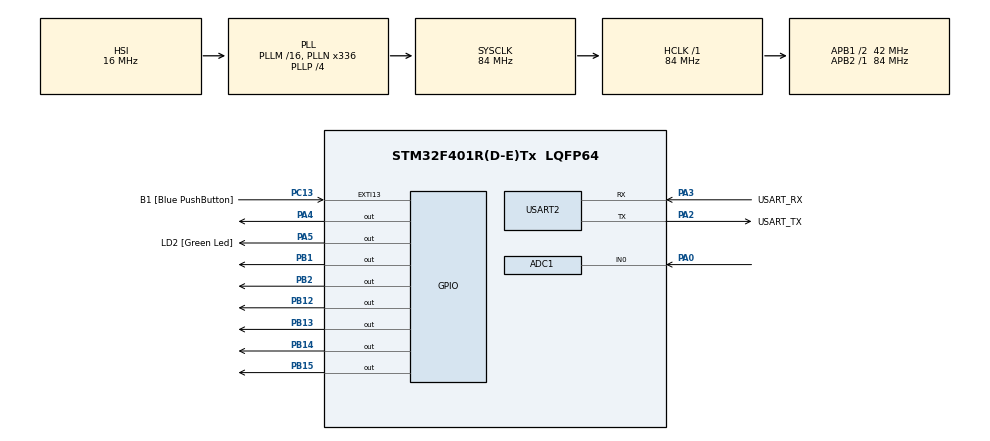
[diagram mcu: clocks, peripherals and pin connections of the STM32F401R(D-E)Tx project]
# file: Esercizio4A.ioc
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ADC1.Channel-0\#ChannelRegularConversion=ADC_CHANNEL_0
ADC1.DMAContinuousRequests=ENABLE
ADC1.ExternalTrigConv=ADC_EXTERNALTRIGCONV_T2_TRGO
ADC1.NbrOfConversionFlag=1
ADC1.Rank-0\#ChannelRegularConversion=1
ADC1.SamplingTime-0\#ChannelRegularConversion=ADC_SAMPLETIME_480CYCLES
ADC1.master=1
Dma.ADC1.1.Direction=DMA_PERIPH_TO_MEMORY
Dma.ADC1.1.FIFOMode=DMA_FIFOMODE_DISABLE
Dma.ADC1.1.Instance=DMA2_Stream0
Dma.ADC1.1.MemDataAlignment=DMA_MDATAALIGN_HALFWORD
Dma.ADC1.1.MemInc=DMA_MINC_ENABLE
Dma.ADC1.1.Mode=DMA_CIRCULAR
Dma.ADC1.1.PeriphDataAlignment=DMA_PDATAALIGN_HALFWORD
Dma.ADC1.1.PeriphInc=DMA_PINC_DISABLE
Dma.ADC1.1.Priority=DMA_PRIORITY_HIGH
Dma.Request0=USART2_TX
Dma.Request1=ADC1
Dma.USART2_TX.0.Direction=DMA_MEMORY_TO_PERIPH
Dma.USART2_TX.0.FIFOMode=DMA_FIFOMODE_DISABLE
Dma.USART2_TX.0.Instance=DMA1_Stream6
Dma.USART2_TX.0.MemDataAlignment=DMA_MDATAALIGN_BYTE
Dma.USART2_TX.0.MemInc=DMA_MINC_ENABLE
Dma.USART2_TX.0.Mode=DMA_NORMAL
Dma.USART2_TX.0.PeriphDataAlignment=DMA_PDATAALIGN_BYTE
Dma.USART2_TX.0.PeriphInc=DMA_PINC_DISABLE
Dma.USART2_TX.0.Priority=DMA_PRIORITY_HIGH
Mcu.Family=STM32F4
Mcu.Name=STM32F401R(D-E)Tx
Mcu.Package=LQFP64
NVIC.DMA1_Stream6_IRQn=true\:0\:0\:false\:false\:true\:false\:true\:true
NVIC.DMA2_Stream0_IRQn=true\:0\:0\:false\:false\:true\:false\:true\:true
NVIC.PriorityGroup=NVIC_PRIORITYGROUP_4
NVIC.USART2_IRQn=true\:0\:0\:false\:false\:true\:true\:true\:true
PA0-WKUP.Signal=ADCx_IN0
PA13.GPIO_Label=TMS
PA13.Mode=Trace_Asynchronous_SW
PA13.Signal=SYS_JTMS-SWDIO
PA14.GPIO_Label=TCK
PA14.Mode=Trace_Asynchronous_SW
PA14.Signal=SYS_JTCK-SWCLK
PA2.GPIO_Label=USART_TX
PA2.GPIO_Mode=GPIO_MODE_AF_PP
PA2.GPIO_PuPd=GPIO_NOPULL
PA2.GPIO_Speed=GPIO_SPEED_FREQ_LOW
PA2.Mode=Asynchronous
PA2.Signal=USART2_TX
PA3.GPIO_Label=USART_RX
PA3.GPIO_Mode=GPIO_MODE_AF_PP
PA3.GPIO_PuPd=GPIO_NOPULL
PA3.GPIO_Speed=GPIO_SPEED_FREQ_LOW
PA3.Mode=Asynchronous
PA3.Signal=USART2_RX
PA4.Signal=GPIO_Output
PA5.GPIO_Label=LD2 [Green Led]
PA5.GPIO_Mode=GPIO_MODE_OUTPUT_PP
PA5.GPIO_PuPd=GPIO_NOPULL
PA5.GPIO_Speed=GPIO_SPEED_FREQ_LOW
PA5.Signal=GPIO_Output
PB1.Signal=GPIO_Output
PB12.Signal=GPIO_Output
PB13.Signal=GPIO_Output
PB14.Signal=GPIO_Output
PB15.Signal=GPIO_Output
PB2.Signal=GPIO_Output
PB3.GPIO_Label=SWO
PB3.Mode=Trace_Asynchronous_SW
PB3.Signal=SYS_JTDO-SWO
PC13-ANTI_TAMP.GPIO_Label=B1 [Blue PushButton]
PC13-ANTI_TAMP.GPIO_ModeDefaultEXTI=GPIO_MODE_IT_FALLING
PC13-ANTI_TAMP.GPIO_PuPd=GPIO_NOPULL
PC13-ANTI_TAMP.Signal=GPXTI13
PC14-OSC32_IN.Mode=LSE-External-Oscillator
PC14-OSC32_IN.Signal=RCC_OSC32_IN
PC15-OSC32_OUT.Mode=LSE-External-Oscillator
PC15-OSC32_OUT.Signal=RCC_OSC32_OUT
PH0\ -\ OSC_IN.Mode=HSE-External-Clock-Source
PH0\ -\ OSC_IN.Signal=RCC_OSC_IN
PH1\ -\ OSC_OUT.Mode=HSE-External-Clock-Source
PH1\ -\ OSC_OUT.Signal=RCC_OSC_OUT
ProjectManager.HeapSize=0x200
ProjectManager.StackSize=0x400
ProjectManager.TargetToolchain=STM32CubeIDE
RCC.48MHZClocksFreq_Value=48000000
RCC.AHBFreq_Value=84000000
RCC.APB1CLKDivider=RCC_HCLK_DIV2
RCC.APB1Freq_Value=42000000
RCC.APB1TimFreq_Value=84000000
RCC.APB2Freq_Value=84000000
RCC.APB2TimFreq_Value=84000000
RCC.CortexFreq_Value=84000000
RCC.HCLKFreq_Value=84000000
RCC.HSE_VALUE=8000000
RCC.HSI_VALUE=16000000
RCC.PLLN=336
RCC.PLLP=RCC_PLLP_DIV4
RCC.PLLQ=7
RCC.SYSCLKFreq_VALUE=84000000
RCC.SYSCLKSource=RCC_SYSCLKSOURCE_PLLCLK
RCC.VCOOutputFreq_Value=336000000
SH.ADCx_IN0.0=ADC1_IN0,IN0
TIM2.Period=839999
TIM2.Prescaler=99
TIM2.TIM_MasterOutputTrigger=TIM_TRGO_UPDATE
USART2.VirtualMode=VM_ASYNC
VP_TIM2_VS_ClockSourceINT.Mode=Internal
board=NUCLEO-F401RE

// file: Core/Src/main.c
/* USER CODE BEGIN Header */
/**
  ******************************************************************************
  * @file           : main.c
  * @brief          : Main program body
  ******************************************************************************
  * @attention
  *
  * Copyright (c) 2026 STMicroelectronics.
  * All rights reserved.
  *
  * This software is licensed under terms that can be found in the LICENSE file
  * in the root directory of this software component.
  * If no LICENSE file comes with this software, it is provided AS-IS.
  *
  ******************************************************************************
  */
/* USER CODE END Header */
#include "main.h"

/* USER CODE BEGIN Includes */
#include "stdio.h"
#include "string.h"
#include <math.h>
#include "PMDB16_LCD.h"

/* USER CODE END Includes */

ADC_HandleTypeDef hadc1;
DMA_HandleTypeDef hdma_adc1;

TIM_HandleTypeDef htim2;

UART_HandleTypeDef huart2;
DMA_HandleTypeDef hdma_usart2_tx;

/* USER CODE BEGIN PV */
uint16_t adc_buf[2];   // buffer circolare: [0] pronto a meta' trasferimento, [1] a trasferimento completo
float v_adc = 0.0f;
float ldr = 0.0f;
float lux = 0.0f;
uint8_t tx_buf[64];
int len;
int blacklight=0;
char string[16];
/* USER CODE END PV */

void SystemClock_Config(void);
static void MX_GPIO_Init(void);
static void MX_DMA_Init(void);
static void MX_USART2_UART_Init(void);
static void MX_ADC1_Init(void);
static void MX_TIM2_Init(void);

/* USER CODE BEGIN 0 */

static void process_and_send(uint16_t raw)
{
    v_adc = ((float)raw * 3.3f) / 4095.0f;
    ldr = (v_adc * 100) / (3.3f - v_adc);       // [kOhm]
    lux = 10 * pow(100 / ldr, 1.25f);            // [lux]

    if(lux>300.0f){
    	blacklight=0;
    }else if(lux<200.0f){
    	blacklight=1;
    }

    len = sprintf((char*)tx_buf, "Vadc: %.2fV  LDR: %.1fkOhm  Lux: %.2flux\r\n", v_adc, ldr, lux);
    HAL_UART_Transmit_DMA(&huart2, tx_buf, len);

}

void HAL_ADC_ConvHalfCpltCallback(ADC_HandleTypeDef *hadc)
{
    process_and_send(adc_buf[0]);
}

void HAL_ADC_ConvCpltCallback(ADC_HandleTypeDef *hadc)
{
    process_and_send(adc_buf[1]);
}

/* USER CODE END 0 */

int main(void)
{

  /* MCU Configuration--------------------------------------------------------*/

  /* Reset of all peripherals, Initializes the Flash interface and the Systick. */
  HAL_Init();

  /* Configure the system clock */
  SystemClock_Config();

  /* Initialize all configured peripherals */
  MX_GPIO_Init();
  MX_DMA_Init();
  MX_USART2_UART_Init();
  MX_ADC1_Init();
  MX_TIM2_Init();
  /* USER CODE BEGIN 2 */
  HAL_TIM_Base_Start(&htim2); // Timer 2 (Trigger ADC)
  HAL_ADC_Start_DMA(&hadc1, (uint32_t*)adc_buf, 2);   // buffer da 2 elementi, niente & (l'array decade gia' da solo)
  lcd_initialize();           // LCD

  /* USER CODE END 2 */

  /* Infinite loop */
  while (1)
  {

    /* USER CODE BEGIN 3 */
	  if(blacklight){
		  lcd_backlight_ON();
		  sprintf(string, "Lux: %.2flux", lux);

		  lcd_clear();
		  lcd_println(string, 0);   // testo sulla riga superiore
	  }else{
		  lcd_backlight_OFF();
	  }
  }
  /* USER CODE END 3 */
}

void SystemClock_Config(void)
{
  RCC_OscInitTypeDef RCC_OscInitStruct = {0};
  RCC_ClkInitTypeDef RCC_ClkInitStruct = {0};

  /** Configure the main internal regulator output voltage
  */
  __HAL_RCC_PWR_CLK_ENABLE();
  __HAL_PWR_VOLTAGESCALING_CONFIG(PWR_REGULATOR_VOLTAGE_SCALE2);

  /** Initializes the RCC Oscillators according to the specified parameters
  * in the RCC_OscInitTypeDef structure.
  */
  RCC_OscInitStruct.OscillatorType = RCC_OSCILLATORTYPE_HSI;
  RCC_OscInitStruct.HSIState = RCC_HSI_ON;
  RCC_OscInitStruct.HSICalibrationValue = RCC_HSICALIBRATION_DEFAULT;
  RCC_OscInitStruct.PLL.PLLState = RCC_PLL_ON;
  RCC_OscInitStruct.PLL.PLLSource = RCC_PLLSOURCE_HSI;
  RCC_OscInitStruct.PLL.PLLM = 16;
  RCC_OscInitStruct.PLL.PLLN = 336;
  RCC_OscInitStruct.PLL.PLLP = RCC_PLLP_DIV4;
  RCC_OscInitStruct.PLL.PLLQ = 7;
  if (HAL_RCC_OscConfig(&RCC_OscInitStruct) != HAL_OK)
  {
    Error_Handler();
  }

  /** Initializes the CPU, AHB and APB buses clocks
  */
  RCC_ClkInitStruct.ClockType = RCC_CLOCKTYPE_HCLK|RCC_CLOCKTYPE_SYSCLK
                              |RCC_CLOCKTYPE_PCLK1|RCC_CLOCKTYPE_PCLK2;
  RCC_ClkInitStruct.SYSCLKSource = RCC_SYSCLKSOURCE_PLLCLK;
  RCC_ClkInitStruct.AHBCLKDivider = RCC_SYSCLK_DIV1;
  RCC_ClkInitStruct.APB1CLKDivider = RCC_HCLK_DIV2;
  RCC_ClkInitStruct.APB2CLKDivider = RCC_HCLK_DIV1;

  if (HAL_RCC_ClockConfig(&RCC_ClkInitStruct, FLASH_LATENCY_2) != HAL_OK)
  {
    Error_Handler();
  }
}

static void MX_ADC1_Init(void)
{

  ADC_ChannelConfTypeDef sConfig = {0};

  /** Configure the global features of the ADC (Clock, Resolution, Data Alignment and number of conversion)
  */
  hadc1.Instance = ADC1;
  hadc1.Init.ClockPrescaler = ADC_CLOCK_SYNC_PCLK_DIV4;
  hadc1.Init.Resolution = ADC_RESOLUTION_12B;
  hadc1.Init.ScanConvMode = DISABLE;
  hadc1.Init.ContinuousConvMode = DISABLE;
  hadc1.Init.DiscontinuousConvMode = DISABLE;
  hadc1.Init.ExternalTrigConvEdge = ADC_EXTERNALTRIGCONVEDGE_RISING;
  hadc1.Init.ExternalTrigConv = ADC_EXTERNALTRIGCONV_T2_TRGO;
  hadc1.Init.DataAlign = ADC_DATAALIGN_RIGHT;
  hadc1.Init.NbrOfConversion = 1;
  hadc1.Init.DMAContinuousRequests = ENABLE;
  hadc1.Init.EOCSelection = ADC_EOC_SINGLE_CONV;
  if (HAL_ADC_Init(&hadc1) != HAL_OK)
  {
    Error_Handler();
  }

  /** Configure for the selected ADC regular channel its corresponding rank in the sequencer and its sample time.
  */
  sConfig.Channel = ADC_CHANNEL_0;
  sConfig.Rank = 1;
  sConfig.SamplingTime = ADC_SAMPLETIME_480CYCLES;
  if (HAL_ADC_ConfigChannel(&hadc1, &sConfig) != HAL_OK)
  {
    Error_Handler();
  }

}

static void MX_TIM2_Init(void)
{

  TIM_ClockConfigTypeDef sClockSourceConfig = {0};
  TIM_MasterConfigTypeDef sMasterConfig = {0};

  htim2.Instance = TIM2;
  htim2.Init.Prescaler = 99;
  htim2.Init.CounterMode = TIM_COUNTERMODE_UP;
  htim2.Init.Period = 839999;
  htim2.Init.ClockDivision = TIM_CLOCKDIVISION_DIV1;
  htim2.Init.AutoReloadPreload = TIM_AUTORELOAD_PRELOAD_DISABLE;
  if (HAL_TIM_Base_Init(&htim2) != HAL_OK)
  {
    Error_Handler();
  }
  sClockSourceConfig.ClockSource = TIM_CLOCKSOURCE_INTERNAL;
  if (HAL_TIM_ConfigClockSource(&htim2, &sClockSourceConfig) != HAL_OK)
  {
    Error_Handler();
  }
  sMasterConfig.MasterOutputTrigger = TIM_TRGO_UPDATE;
  sMasterConfig.MasterSlaveMode = TIM_MASTERSLAVEMODE_DISABLE;
  if (HAL_TIMEx_MasterConfigSynchronization(&htim2, &sMasterConfig) != HAL_OK)
  {
    Error_Handler();
  }

}

static void MX_USART2_UART_Init(void)
{

  huart2.Instance = USART2;
  huart2.Init.BaudRate = 115200;
  huart2.Init.WordLength = UART_WORDLENGTH_8B;
  huart2.Init.StopBits = UART_STOPBITS_1;
  huart2.Init.Parity = UART_PARITY_NONE;
  huart2.Init.Mode = UART_MODE_TX_RX;
  huart2.Init.HwFlowCtl = UART_HWCONTROL_NONE;
  huart2.Init.OverSampling = UART_OVERSAMPLING_16;
  if (HAL_UART_Init(&huart2) != HAL_OK)
  {
    Error_Handler();
  }

}

static void MX_DMA_Init(void)
{

  /* DMA controller clock enable */
  __HAL_RCC_DMA1_CLK_ENABLE();
  __HAL_RCC_DMA2_CLK_ENABLE();

  /* DMA interrupt init */
  /* DMA1_Stream6_IRQn interrupt configuration */
  HAL_NVIC_SetPriority(DMA1_Stream6_IRQn, 0, 0);
  HAL_NVIC_EnableIRQ(DMA1_Stream6_IRQn);
  /* DMA2_Stream0_IRQn interrupt configuration */
  HAL_NVIC_SetPriority(DMA2_Stream0_IRQn, 0, 0);
  HAL_NVIC_EnableIRQ(DMA2_Stream0_IRQn);

}

static void MX_GPIO_Init(void)
{
  GPIO_InitTypeDef GPIO_InitStruct = {0};

  /* GPIO Ports Clock Enable */
  __HAL_RCC_GPIOC_CLK_ENABLE();
  __HAL_RCC_GPIOH_CLK_ENABLE();
  __HAL_RCC_GPIOA_CLK_ENABLE();
  __HAL_RCC_GPIOB_CLK_ENABLE();

  /*Configure GPIO pin Output Level */
  HAL_GPIO_WritePin(GPIOA, GPIO_PIN_4|LD2_Pin, GPIO_PIN_RESET);

  /*Configure GPIO pin Output Level */
  HAL_GPIO_WritePin(GPIOB, GPIO_PIN_1|GPIO_PIN_2|GPIO_PIN_12|GPIO_PIN_13
                          |GPIO_PIN_14|GPIO_PIN_15, GPIO_PIN_RESET);

  /*Configure GPIO pin : B1_Pin */
  GPIO_InitStruct.Pin = B1_Pin;
  GPIO_InitStruct.Mode = GPIO_MODE_IT_FALLING;
  GPIO_InitStruct.Pull = GPIO_NOPULL;
  HAL_GPIO_Init(B1_GPIO_Port, &GPIO_InitStruct);

  /*Configure GPIO pins : PA4 LD2_Pin */
  GPIO_InitStruct.Pin = GPIO_PIN_4|LD2_Pin;
  GPIO_InitStruct.Mode = GPIO_MODE_OUTPUT_PP;
  GPIO_InitStruct.Pull = GPIO_NOPULL;
  GPIO_InitStruct.Speed = GPIO_SPEED_FREQ_LOW;
  HAL_GPIO_Init(GPIOA, &GPIO_InitStruct);

  /*Configure GPIO pins : PB1 PB2 PB12 PB13
                           PB14 PB15 */
  GPIO_InitStruct.Pin = GPIO_PIN_1|GPIO_PIN_2|GPIO_PIN_12|GPIO_PIN_13
                          |GPIO_PIN_14|GPIO_PIN_15;
  GPIO_InitStruct.Mode = GPIO_MODE_OUTPUT_PP;
  GPIO_InitStruct.Pull = GPIO_NOPULL;
  GPIO_InitStruct.Speed = GPIO_SPEED_FREQ_LOW;
  HAL_GPIO_Init(GPIOB, &GPIO_InitStruct);

}

void Error_Handler(void)
{
  __disable_irq();
  while (1)
  {
  }
}
